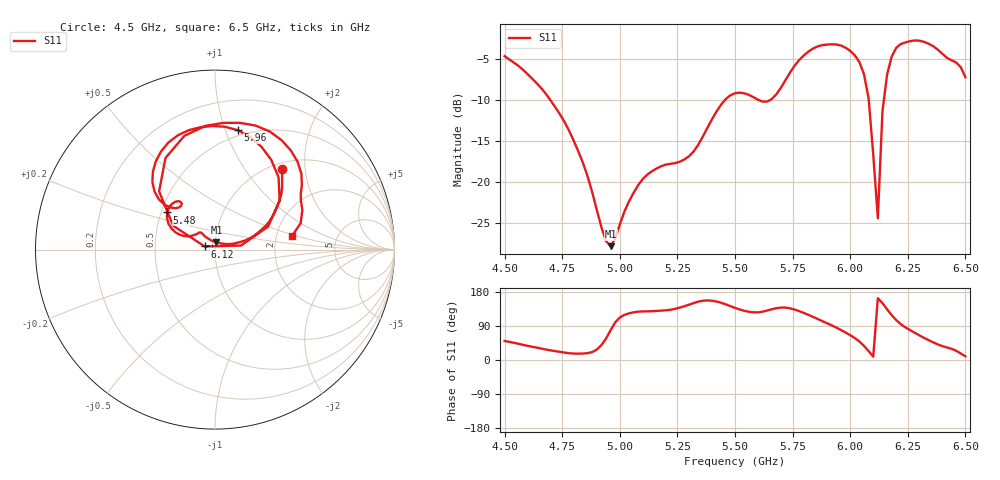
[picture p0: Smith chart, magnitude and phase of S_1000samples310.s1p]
! TOUCHSTONE file generated by CST MICROWAVE STUDIO
! Date and time: Thu Oct 27 17:35:48 2022
! Project name: L.cst
! Parameters = {Di=1.27; Epsilon_r=1.56; InnerDiameter=1.27; Length=2; Lf=10; Lg=60; OuterConductorThickness=0.2921; OuterDiameter=3.6; Wf=3; Wp=41.2; de=1.5; df=6.8; g=0.8; gx=2.0929; gy=1.82006; h=2.34; hf=1.524; px=13.8613; py=11.8497; w=9.7; wx=11.7684; wy=10.0296}
! Header version: 2018
! Port assignment regex: !\s*Touchstone port\s*([0-9]+)\s*=\s*(CST MWS port|CST DS port)\s*([0-9]+|Zmin|Zmax)\s*\(\"(.*)\"\)(\s*mode\s*([0-9]+))?.*
! Touchstone port assignment:
! Touchstone port 1 = CST MWS port 1 ("")
# GHz S DB R 50
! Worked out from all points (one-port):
!   101 points, 4.5 GHz to 6.5 GHz, reference 50 ohm
!   lowest |S11| = -27.8 dB at 4.96 GHz (marker M1), VSWR 1.08, Z = 50.7 + j4.04 ohm
!   |S11| at or under -10 dB: 4.698 GHz to 5.457 GHz (759.1 MHz wide, 14.9 % of centre); 5.601 GHz to 5.653 GHz (52.42 MHz wide, 0.932 % of centre); 6.08 GHz to 6.146 GHz (65.83 MHz wide, 1.08 % of centre)
!   S11 on the Smith chart (normalised r, x): 4.5 GHz: 1.11, +1.51; 5.48 GHz: 0.54, +0.25; 5.96 GHz: 0.45, +1.11; 6.12 GHz: 0.89, +0.03; 6.5 GHz: 2.44, +0.45
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4.5  -4.68 50.2
4.66  -8.60 30.1
4.76  -12.68 19.6
4.84  -17.68 17.0
4.92  -25.49 39.1
4.96  -27.81 78.5
5  -25.16 112.2
5.1  -19.63 128.2
5.26  -17.54 138.2
5.38  -13.41 157.2
5.48  -9.44 142.2
5.5  -9.19 137.5
5.64  -10.20 130.6
5.7  -8.49 138.3
5.76  -5.79 132.8
5.86  -3.48 107.9
5.96  -3.38 79.1
6  -4.04 65.6
6.04  -5.40 48.7
6.08  -9.83 23.4
6.1  -16.67 8.9
6.12  -24.43 163.0
6.14  -11.41 150.3
6.16  -6.95 133.8
6.2  -3.66 105.1
6.26  -2.86 78.8
6.36  -3.46 46.7
6.5  -7.24 9.9
